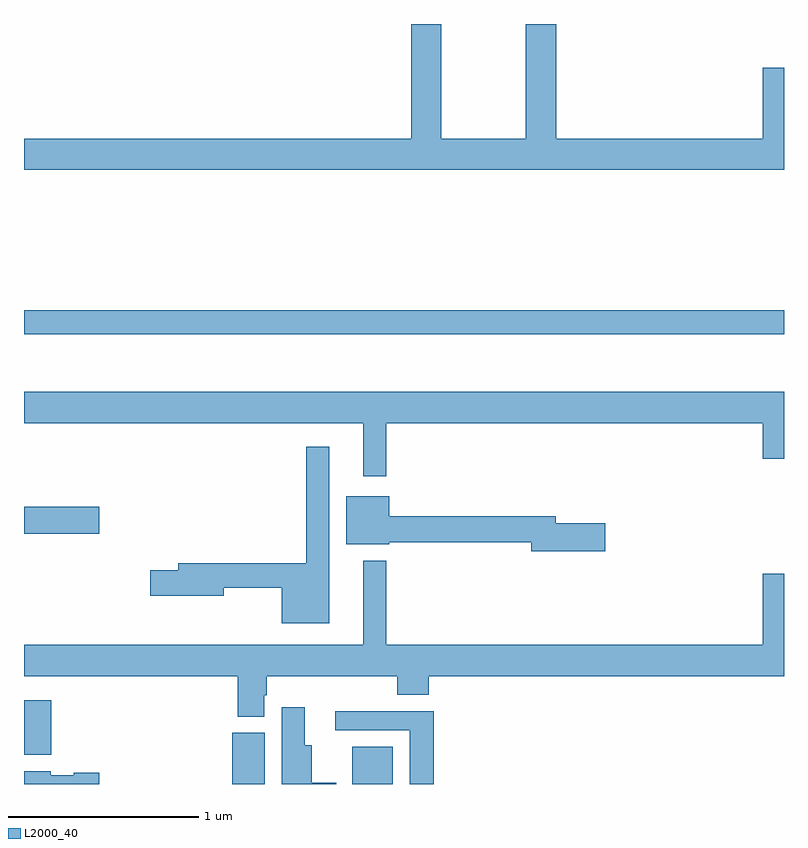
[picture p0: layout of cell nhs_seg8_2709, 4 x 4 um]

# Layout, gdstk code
import gdstk
lib = gdstk.Library(unit=1e-6, precision=1e-09)
def R(c, l, rs):  # rectangles x0, y0, x1, y1
    for r in rs: c.add(gdstk.rectangle(r[:2], r[2:], *l))
def P(c, l, *ps):  # polygons
    for p in ps: c.add(gdstk.Polygon(p, *l))
L2000_40 = (2000, 40)

nhs_seg8_2709 = lib.new_cell('nhs_seg8_2709')
R(nhs_seg8_2709, L2000_40, [(282.095,1147.9,282.268,1148.17), (282.728,1147.9,282.94,1148.095), (281,1148.054,281.144,1148.341), (281,1149.218,281.395,1149.36), (281,1150.266,285,1150.394)])
P(nhs_seg8_2709, L2000_40, [(285,1151.671),(284.888,1151.671),(284.888,1151.296),(283.802,1151.296),(283.802,1151.9),(283.642,1151.9),(283.642,1151.296),(283.197,1151.296),(283.197,1151.9),(283.037,1151.9),(283.037,1151.296),(281,1151.296),(281,1151.132),(285,1151.132)],
  [(282.907,1149.8),(284.888,1149.8),(284.888,1149.612),(285,1149.612),(285,1149.964),(281,1149.964),(281,1149.8),(282.785,1149.8),(282.785,1149.519),(282.907,1149.519)],
  [(282.607,1149.676),(282.486,1149.676),(282.486,1149.062),(281.813,1149.062),(281.813,1149.026),(281.664,1149.026),(281.664,1148.891),(282.052,1148.891),(282.052,1148.934),(282.356,1148.934),(282.356,1148.747),(282.607,1148.747)],
  [(284.059,1149.272),(283.798,1149.272),(283.798,1149.308),(282.922,1149.308),(282.922,1149.415),(282.695,1149.415),(282.695,1149.161),(282.922,1149.161),(282.922,1149.172),(283.67,1149.172),(283.67,1149.125),(284.059,1149.125)],
  [(282.265,1148.367),(282.278,1148.367),(282.278,1148.468),(282.965,1148.468),(282.965,1148.369),(283.13,1148.369),(283.13,1148.468),(285,1148.468),(285,1149.007),(284.888,1149.007),(284.888,1148.632),(282.907,1148.632),(282.907,1149.076),(282.785,1149.076),(282.785,1148.632),(281,1148.632),(281,1148.468),(282.125,1148.468),(282.125,1148.255),(282.265,1148.255)],
  [(282.643,1147.906),(282.514,1147.906),(282.514,1148.104),(282.478,1148.104),(282.478,1148.305),(282.356,1148.305),(282.356,1147.9),(282.643,1147.9)],
  [(283.157,1148.282),(282.639,1148.282),(282.639,1148.184),(283.031,1148.184),(283.031,1147.9),(283.157,1147.9)],
  [(281.395,1147.958),(281.262,1147.958),(281.262,1147.945),(281.142,1147.945),(281.142,1147.966),(281,1147.966),(281,1147.9),(281.395,1147.9)])

lib.write_gds('nhs_seg8_2709.gds')
